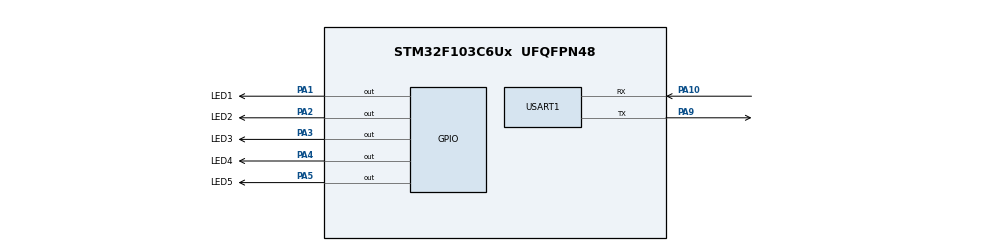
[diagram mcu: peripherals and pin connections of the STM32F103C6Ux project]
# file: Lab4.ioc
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Mcu.Family=STM32F1
Mcu.Name=STM32F103C6Ux
Mcu.Package=UFQFPN48
NVIC.PriorityGroup=NVIC_PRIORITYGROUP_4
NVIC.TIM2_IRQn=true\:0\:0\:false\:false\:true\:true\:true
PA1.GPIO_Label=LED1
PA1.Signal=GPIO_Output
PA10.Mode=Asynchronous
PA10.Signal=USART1_RX
PA2.GPIO_Label=LED2
PA2.Signal=GPIO_Output
PA3.GPIO_Label=LED3
PA3.Signal=GPIO_Output
PA4.GPIO_Label=LED4
PA4.Signal=GPIO_Output
PA5.GPIO_Label=LED5
PA5.Signal=GPIO_Output
PA9.Mode=Asynchronous
PA9.Signal=USART1_TX
ProjectManager.HeapSize=0x200
ProjectManager.StackSize=0x400
ProjectManager.TargetToolchain=STM32CubeIDE
RCC.APB1Freq_Value=8000000
RCC.APB2Freq_Value=8000000
TIM2.Period=9
TIM2.Prescaler=7999
USART1.VirtualMode=VM_ASYNC
VP_SYS_VS_ND.Mode=No_Debug
VP_TIM2_VS_ClockSourceINT.Mode=Internal
board=custom

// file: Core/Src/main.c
#include "main.h"

/* USER CODE BEGIN Includes */
#include "scheduler.h"
#include <stdio.h>
#include <string.h>
/* USER CODE END Includes */

TIM_HandleTypeDef htim2;
UART_HandleTypeDef huart1;

/* USER CODE BEGIN PV */
volatile uint32_t system_time_ms = 0;
volatile uint32_t snapshot_time_ms = 0;
char uart_buf[100];                   // UART Buffer
/* USER CODE END PV */

void SystemClock_Config(void);
static void MX_GPIO_Init(void);
static void MX_TIM2_Init(void);
static void MX_USART1_UART_Init(void);

/* USER CODE BEGIN PFP */
uint32_t get_time(void);
void UART_Print(const char *msg);

void Task_1(void);
void Task_2(void);
void Task_3(void);
void Task_4(void);
void Task_5(void);

void OneShot_A(void);
void OneShot_B(void);
/* USER CODE END PFP */

/* USER CODE BEGIN 0 */

// timestamp return
uint32_t get_time(void) {
    return snapshot_time_ms;
}

// Print UART
void UART_Print(const char *msg) {
    int len = snprintf(uart_buf, sizeof(uart_buf), "[%6lu ms] %s\r\n", get_time(), msg);
    HAL_UART_Transmit(&huart1, (uint8_t *)uart_buf, len, 10);
}

//TESTCASE
void Task_1(void) {
    HAL_GPIO_TogglePin(GPIOA, LED1_Pin);
    UART_Print("Task 1 (0.5s) -> Toggle LED1");
}

void Task_2(void) {
    HAL_GPIO_TogglePin(GPIOA, LED2_Pin);
    UART_Print("Task 2 (1.0s) -> Toggle LED2");
}

void Task_3(void) {
    HAL_GPIO_TogglePin(GPIOA, LED3_Pin);
    UART_Print("Task 3 (1.5s) -> Toggle LED3");
}

void Task_4(void) {
    HAL_GPIO_TogglePin(GPIOA, LED4_Pin);
    UART_Print("Task 4 (2.0s) -> Toggle LED4");
}

void Task_5(void) {
    HAL_GPIO_TogglePin(GPIOA, LED5_Pin);
    UART_Print("Task 5 (2.5s) -> Toggle LED5");
}

void OneShot_A(void) {
    UART_Print(">>> OneShot A fired at 300ms! <<<");
}

void OneShot_B(void) {
    UART_Print(">>> OneShot B fired at 1200ms! <<<");
}

// Interrupt
void HAL_TIM_PeriodElapsedCallback(TIM_HandleTypeDef *htim) {
    if (htim->Instance == TIM2) {
        system_time_ms += 10;
        SCH_Update();         // Update
    }
}
/* USER CODE END 0 */

int main(void) {
    HAL_Init();
    SystemClock_Config();
    MX_GPIO_Init();
    MX_TIM2_Init();
    MX_USART1_UART_Init();

    /* USER CODE BEGIN 2 */
    SCH_Init();
    UART_Print("STARTING SCHEDULER");

    SCH_Add_Task(Task_1, 50, 50);    // 500ms
    SCH_Add_Task(OneShot_B, 120, 0); // Once at 1200ms (120 ticks)
    SCH_Add_Task(Task_2, 100, 100);  // 1000ms
    SCH_Add_Task(OneShot_A, 30, 0);
    SCH_Add_Task(Task_3, 150, 150);  // 1500ms
    SCH_Add_Task(Task_4, 200, 200);  // 2000ms
    SCH_Add_Task(Task_5, 250, 250);  // 2500ms

    // Timer
    HAL_TIM_Base_Start_IT(&htim2);
    /* USER CODE END 2 */

    while (1) {
        /* USER CODE BEGIN 3 */
        SCH_Dispatch_Tasks();
//        HAL_Delay(10);
        /* USER CODE END 3 */
    }
}
void SystemClock_Config(void)
{
  RCC_OscInitTypeDef RCC_OscInitStruct = {0};
  RCC_ClkInitTypeDef RCC_ClkInitStruct = {0};

  /** Initializes the RCC Oscillators according to the specified parameters
  * in the RCC_OscInitTypeDef structure.
  */
  RCC_OscInitStruct.OscillatorType = RCC_OSCILLATORTYPE_HSI;
  RCC_OscInitStruct.HSIState = RCC_HSI_ON;
  RCC_OscInitStruct.HSICalibrationValue = RCC_HSICALIBRATION_DEFAULT;
  RCC_OscInitStruct.PLL.PLLState = RCC_PLL_NONE;
  if (HAL_RCC_OscConfig(&RCC_OscInitStruct) != HAL_OK)
  {
    Error_Handler();
  }
  /** Initializes the CPU, AHB and APB buses clocks
  */
  RCC_ClkInitStruct.ClockType = RCC_CLOCKTYPE_HCLK|RCC_CLOCKTYPE_SYSCLK
                              |RCC_CLOCKTYPE_PCLK1|RCC_CLOCKTYPE_PCLK2;
  RCC_ClkInitStruct.SYSCLKSource = RCC_SYSCLKSOURCE_HSI;
  RCC_ClkInitStruct.AHBCLKDivider = RCC_SYSCLK_DIV1;
  RCC_ClkInitStruct.APB1CLKDivider = RCC_HCLK_DIV1;
  RCC_ClkInitStruct.APB2CLKDivider = RCC_HCLK_DIV1;

  if (HAL_RCC_ClockConfig(&RCC_ClkInitStruct, FLASH_LATENCY_0) != HAL_OK)
  {
    Error_Handler();
  }
}

static void MX_TIM2_Init(void)
{

  TIM_ClockConfigTypeDef sClockSourceConfig = {0};
  TIM_MasterConfigTypeDef sMasterConfig = {0};

  htim2.Instance = TIM2;
  htim2.Init.Prescaler = 7999;
  htim2.Init.CounterMode = TIM_COUNTERMODE_UP;
  htim2.Init.Period = 9;
  htim2.Init.ClockDivision = TIM_CLOCKDIVISION_DIV1;
  htim2.Init.AutoReloadPreload = TIM_AUTORELOAD_PRELOAD_DISABLE;
  if (HAL_TIM_Base_Init(&htim2) != HAL_OK)
  {
    Error_Handler();
  }
  sClockSourceConfig.ClockSource = TIM_CLOCKSOURCE_INTERNAL;
  if (HAL_TIM_ConfigClockSource(&htim2, &sClockSourceConfig) != HAL_OK)
  {
    Error_Handler();
  }
  sMasterConfig.MasterOutputTrigger = TIM_TRGO_RESET;
  sMasterConfig.MasterSlaveMode = TIM_MASTERSLAVEMODE_DISABLE;
  if (HAL_TIMEx_MasterConfigSynchronization(&htim2, &sMasterConfig) != HAL_OK)
  {
    Error_Handler();
  }

}

static void MX_USART1_UART_Init(void)
{

  huart1.Instance = USART1;
  huart1.Init.BaudRate = 115200;
  huart1.Init.WordLength = UART_WORDLENGTH_8B;
  huart1.Init.StopBits = UART_STOPBITS_1;
  huart1.Init.Parity = UART_PARITY_NONE;
  huart1.Init.Mode = UART_MODE_TX_RX;
  huart1.Init.HwFlowCtl = UART_HWCONTROL_NONE;
  huart1.Init.OverSampling = UART_OVERSAMPLING_16;
  if (HAL_UART_Init(&huart1) != HAL_OK)
  {
    Error_Handler();
  }

}

static void MX_GPIO_Init(void)
{
  GPIO_InitTypeDef GPIO_InitStruct = {0};

  /* GPIO Ports Clock Enable */
  __HAL_RCC_GPIOA_CLK_ENABLE();

  /*Configure GPIO pin Output Level */
  HAL_GPIO_WritePin(GPIOA, LED1_Pin|LED2_Pin|LED3_Pin|LED4_Pin
                          |LED5_Pin, GPIO_PIN_SET);

  /*Configure GPIO pins : LED1_Pin LED2_Pin LED3_Pin LED4_Pin
                           LED5_Pin */
  GPIO_InitStruct.Pin = LED1_Pin|LED2_Pin|LED3_Pin|LED4_Pin
                          |LED5_Pin;
  GPIO_InitStruct.Mode = GPIO_MODE_OUTPUT_PP;
  GPIO_InitStruct.Pull = GPIO_NOPULL;
  GPIO_InitStruct.Speed = GPIO_SPEED_FREQ_LOW;
  HAL_GPIO_Init(GPIOA, &GPIO_InitStruct);

}

void Error_Handler(void)
{
  __disable_irq();
  while (1)
  {
  }
}

/************************ (C) COPYRIGHT STMicroelectronics *****END OF FILE****/
